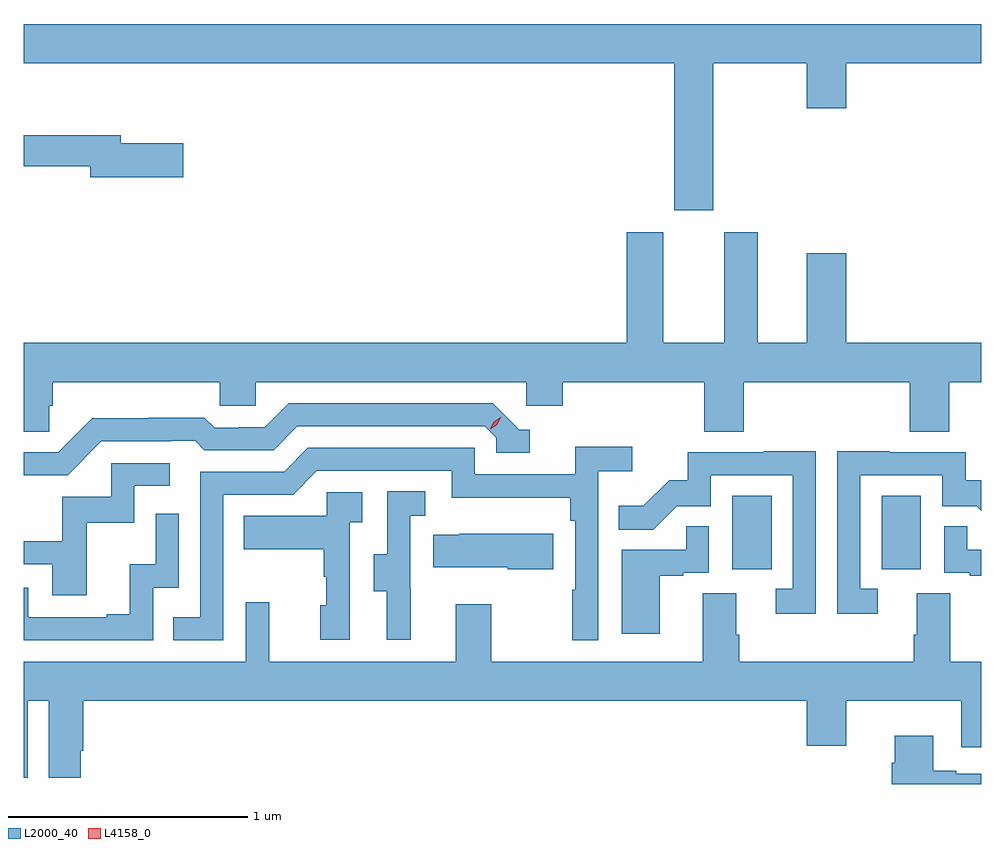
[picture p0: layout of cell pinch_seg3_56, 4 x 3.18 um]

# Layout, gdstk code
import gdstk
lib = gdstk.Library(unit=1e-6, precision=1e-09)
def R(c, l, rs):  # rectangles x0, y0, x1, y1
    for r in rs: c.add(gdstk.rectangle(r[:2], r[2:], *l))
def P(c, l, *ps):  # polygons
    for p in ps: c.add(gdstk.Polygon(p, *l))
L2000_40 = (2000, 40)
L4158_0 = (4158, 0)

pinch_seg3_56 = lib.new_cell('pinch_seg3_56')
R(pinch_seg3_56, L2000_40, [(1075.784,745.422,1075.948,745.729), (1076.408,745.422,1076.572,745.729)])
P(pinch_seg3_56, L2000_40, [(1075.705,747.536),(1076.096,747.536),(1076.096,747.348),(1076.26,747.348),(1076.26,747.536),(1076.824,747.536),(1076.824,747.7),(1072.824,747.7),(1072.824,747.536),(1075.541,747.536),(1075.541,746.922),(1075.705,746.922)],
  [(1073.491,747.201),(1073.23,747.201),(1073.23,747.235),(1072.824,747.235),(1072.824,747.106),(1073.102,747.106),(1073.102,747.059),(1073.491,747.059)],
  [(1072.931,746.106),(1072.946,746.106),(1072.946,746.204),(1073.643,746.204),(1073.643,746.106),(1073.793,746.106),(1073.793,746.204),(1074.924,746.204),(1074.924,746.106),(1075.076,746.106),(1075.076,746.204),(1075.667,746.204),(1075.667,745.996),(1075.832,745.996),(1075.832,746.204),(1076.525,746.204),(1076.525,745.996),(1076.69,745.996),(1076.69,746.204),(1076.824,746.204),(1076.824,746.368),(1076.26,746.368),(1076.26,746.743),(1076.096,746.743),(1076.096,746.368),(1075.891,746.368),(1075.891,746.83),(1075.751,746.83),(1075.751,746.368),(1075.495,746.368),(1075.495,746.83),(1075.343,746.83),(1075.343,746.368),(1072.824,746.368),(1072.824,745.996),(1072.931,745.996)],
  [(1073.148,745.956),(1073.441,745.956),(1073.441,745.959),(1073.54,745.959),(1073.579,745.92),(1073.868,745.92),(1073.967,746.019),(1074.75,746.019),(1074.798,745.971),(1074.798,745.908),(1074.937,745.908),(1074.937,746.004),(1074.894,746.004),(1074.783,746.115),(1073.93,746.115),(1073.831,746.016),(1073.724,746.016),(1073.724,746.013),(1073.621,746.013),(1073.579,746.056),(1073.346,746.056),(1073.346,746.053),(1073.11,746.053),(1072.968,745.911),(1072.824,745.911),(1072.824,745.815),(1073.007,745.815)],
  [(1073.658,745.734),(1073.949,745.734),(1074.048,745.833),(1074.612,745.833),(1074.612,745.721),(1075.108,745.721),(1075.108,745.625),(1075.128,745.625),(1075.128,745.337),(1075.116,745.337),(1075.116,745.125),(1075.224,745.125),(1075.224,745.832),(1075.366,745.832),(1075.366,745.934),(1075.127,745.934),(1075.127,745.818),(1074.708,745.818),(1074.708,745.929),(1074.011,745.929),(1073.912,745.83),(1073.562,745.83),(1073.562,745.221),(1073.449,745.221),(1073.449,745.125),(1073.658,745.125)],
  [(1076.392,745.341),(1076.319,745.341),(1076.319,745.815),(1076.661,745.815),(1076.661,745.686),(1076.805,745.686),(1076.824,745.667),(1076.824,745.794),(1076.76,745.794),(1076.76,745.911),(1076.441,745.911),(1076.441,745.916),(1076.223,745.916),(1076.223,745.236),(1076.392,745.236)],
  [(1076.133,745.916),(1075.915,745.916),(1075.915,745.911),(1075.597,745.911),(1075.597,745.794),(1075.52,745.794),(1075.413,745.687),(1075.309,745.687),(1075.309,745.588),(1075.453,745.588),(1075.551,745.686),(1075.695,745.686),(1075.695,745.815),(1076.037,745.815),(1076.037,745.341),(1075.965,745.341),(1075.965,745.236),(1076.133,745.236)],
  [(1073.087,745.617),(1073.286,745.617),(1073.286,745.77),(1073.434,745.77),(1073.434,745.866),(1073.19,745.866),(1073.19,745.725),(1072.985,745.725),(1072.985,745.539),(1072.824,745.539),(1072.824,745.443),(1072.943,745.443),(1072.943,745.314),(1073.087,745.314)],
  [(1074.44,745.341),(1074.438,745.341),(1074.438,745.645),(1074.502,745.645),(1074.502,745.748),(1074.342,745.748),(1074.342,745.485),(1074.287,745.485),(1074.287,745.33),(1074.341,745.33),(1074.341,745.128),(1074.44,745.128)],
  [(1074.186,745.619),(1074.238,745.619),(1074.238,745.743),(1074.09,745.743),(1074.09,745.645),(1073.743,745.645),(1073.743,745.505),(1074.078,745.505),(1074.078,745.391),(1074.088,745.391),(1074.088,745.272),(1074.062,745.272),(1074.062,745.128),(1074.186,745.128)],
  [(1073.364,745.344),(1073.472,745.344),(1073.472,745.654),(1073.376,745.654),(1073.376,745.442),(1073.267,745.442),(1073.267,745.234),(1073.171,745.234),(1073.171,745.221),(1072.842,745.221),(1072.842,745.344),(1072.824,745.344),(1072.824,745.125),(1073.364,745.125)],
  [(1076.824,745.503),(1076.765,745.503),(1076.765,745.601),(1076.67,745.601),(1076.67,745.407),(1076.777,745.407),(1076.777,745.395),(1076.824,745.395)],
  [(1075.48,745.395),(1075.58,745.395),(1075.58,745.407),(1075.686,745.407),(1075.686,745.601),(1075.591,745.601),(1075.591,745.503),(1075.322,745.503),(1075.322,745.152),(1075.48,745.152)],
  [(1075.036,745.57),(1074.643,745.57),(1074.643,745.567),(1074.535,745.567),(1074.535,745.43),(1074.845,745.43),(1074.845,745.423),(1075.036,745.423)],
  [(1076.096,744.684),(1076.26,744.684),(1076.26,744.872),(1076.741,744.872),(1076.741,744.678),(1076.824,744.678),(1076.824,745.036),(1076.695,745.036),(1076.695,745.322),(1076.555,745.322),(1076.555,745.148),(1076.543,745.148),(1076.543,745.036),(1075.814,745.036),(1075.814,745.148),(1075.801,745.148),(1075.801,745.322),(1075.661,745.322),(1075.661,745.036),(1074.777,745.036),(1074.777,745.276),(1074.629,745.276),(1074.629,745.036),(1073.849,745.036),(1073.849,745.285),(1073.751,745.285),(1073.751,745.036),(1072.824,745.036),(1072.824,744.552),(1072.84,744.552),(1072.84,744.872),(1072.928,744.872),(1072.928,744.552),(1073.062,744.552),(1073.062,744.664),(1073.072,744.664),(1073.072,744.872),(1076.096,744.872)],
  [(1076.824,744.567),(1076.719,744.567),(1076.719,744.58),(1076.623,744.58),(1076.623,744.727),(1076.462,744.727),(1076.462,744.614),(1076.45,744.614),(1076.45,744.525),(1076.824,744.525)])
P(pinch_seg3_56, L4158_0, [(1074.772,746.006),(1074.772,746.006),(1074.788,746.039),(1074.819,746.059),(1074.819,746.059),(1074.819,746.059),(1074.803,746.026),(1074.773,746.006)])

lib.write_gds('pinch_seg3_56.gds')
